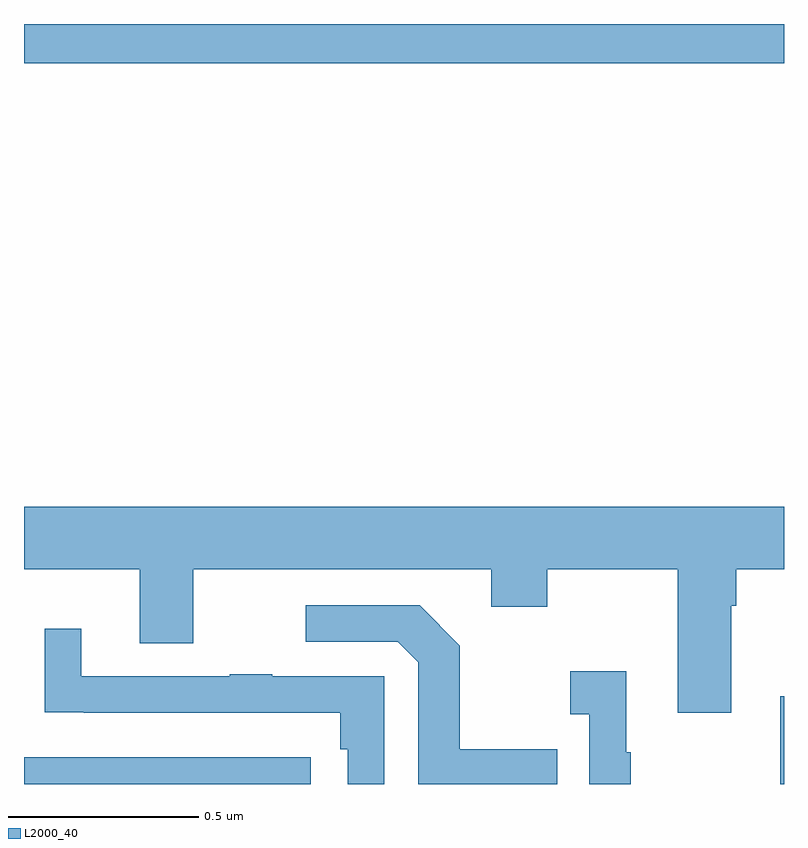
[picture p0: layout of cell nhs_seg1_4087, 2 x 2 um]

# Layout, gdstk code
import gdstk
lib = gdstk.Library(unit=1e-6, precision=1e-09)
def R(c, l, rs):  # rectangles x0, y0, x1, y1
    for r in rs: c.add(gdstk.rectangle(r[:2], r[2:], *l))
def P(c, l, *ps):  # polygons
    for p in ps: c.add(gdstk.Polygon(p, *l))
L2000_40 = (2000, 40)

nhs_seg1_4087 = lib.new_cell('nhs_seg1_4087')
R(nhs_seg1_4087, L2000_40, [(162,519.199,162.754,519.27), (163.99,519.199,164,519.43), (162,521.096,164,521.199)])
P(nhs_seg1_4087, L2000_40, [(162,519.764),(162.305,519.764),(162.305,519.57),(162.445,519.57),(162.445,519.764),(163.229,519.764),(163.229,519.665),(163.377,519.665),(163.377,519.764),(163.721,519.764),(163.721,519.387),(163.861,519.387),(163.861,519.668),(163.874,519.668),(163.874,519.764),(164,519.764),(164,519.928),(162,519.928)],
  [(163.403,519.291),(163.147,519.291),(163.147,519.563),(163.041,519.669),(162.741,519.669),(162.741,519.573),(162.984,519.573),(163.038,519.519),(163.038,519.199),(163.403,519.199)],
  [(162.948,519.483),(162.653,519.483),(162.653,519.488),(162.541,519.488),(162.541,519.483),(162.151,519.483),(162.151,519.607),(162.055,519.607),(162.055,519.388),(162.157,519.388),(162.157,519.387),(162.832,519.387),(162.832,519.29),(162.852,519.29),(162.852,519.199),(162.948,519.199)],
  [(163.597,519.283),(163.585,519.283),(163.585,519.496),(163.437,519.496),(163.437,519.383),(163.488,519.383),(163.488,519.199),(163.597,519.199)])

lib.write_gds('nhs_seg1_4087.gds')
